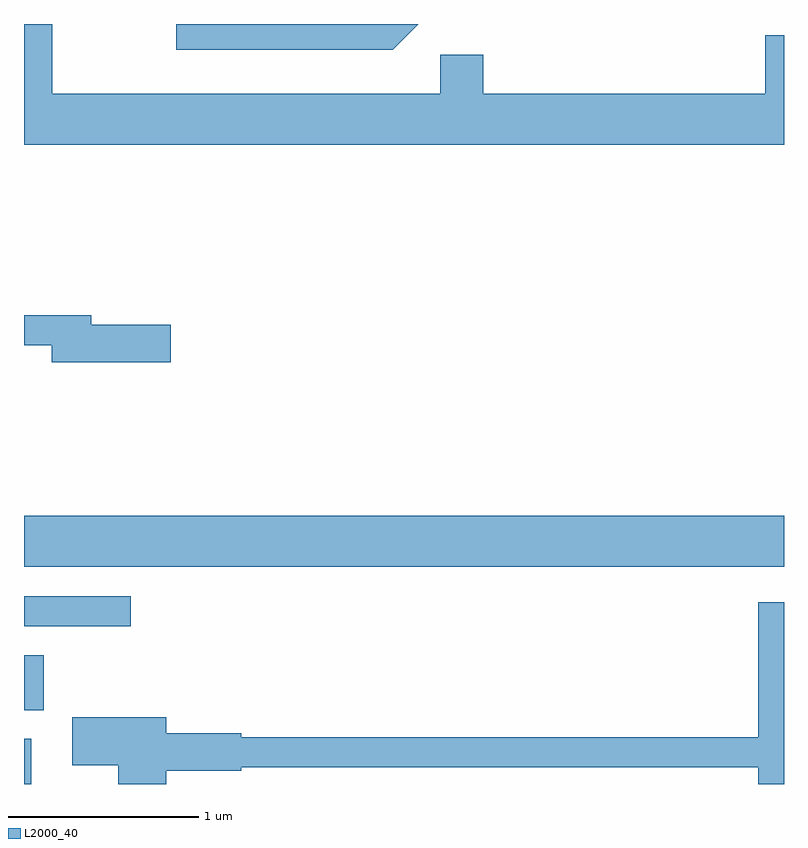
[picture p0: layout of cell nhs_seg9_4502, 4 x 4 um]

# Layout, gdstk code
import gdstk
lib = gdstk.Library(unit=1e-6, precision=1e-09)
def R(c, l, rs):  # rectangles x0, y0, x1, y1
    for r in rs: c.add(gdstk.rectangle(r[:2], r[2:], *l))
def P(c, l, *ps):  # polygons
    for p in ps: c.add(gdstk.Polygon(p, *l))
L2000_40 = (2000, 40)

nhs_seg9_4502 = lib.new_cell('nhs_seg9_4502')
R(nhs_seg9_4502, L2000_40, [(317.611,2008.432,317.649,2008.669), (317.611,2008.821,317.714,2009.109), (317.611,2009.261,318.173,2009.419), (317.611,2009.576,321.611,2009.844)])
P(nhs_seg9_4502, L2000_40, [(319.687,2012.432),(318.413,2012.432),(318.413,2012.296),(319.552,2012.296)],
  [(321.611,2012.374),(321.511,2012.374),(321.511,2012.064),(320.029,2012.064),(320.029,2012.269),(319.801,2012.269),(319.801,2012.064),(317.759,2012.064),(317.759,2012.432),(317.611,2012.432),(317.611,2011.796),(321.611,2011.796)],
  [(318.384,2010.849),(317.964,2010.849),(317.964,2010.899),(317.611,2010.899),(317.611,2010.741),(317.756,2010.741),(317.756,2010.651),(318.384,2010.651)],
  [(318.359,2008.501),(318.754,2008.501),(318.754,2008.521),(321.476,2008.521),(321.476,2008.432),(321.611,2008.432),(321.611,2009.389),(321.476,2009.389),(321.476,2008.679),(318.754,2008.679),(318.754,2008.699),(318.359,2008.699),(318.359,2008.784),(317.866,2008.784),(317.866,2008.531),(318.106,2008.531),(318.106,2008.432),(318.359,2008.432)])

lib.write_gds('nhs_seg9_4502.gds')
